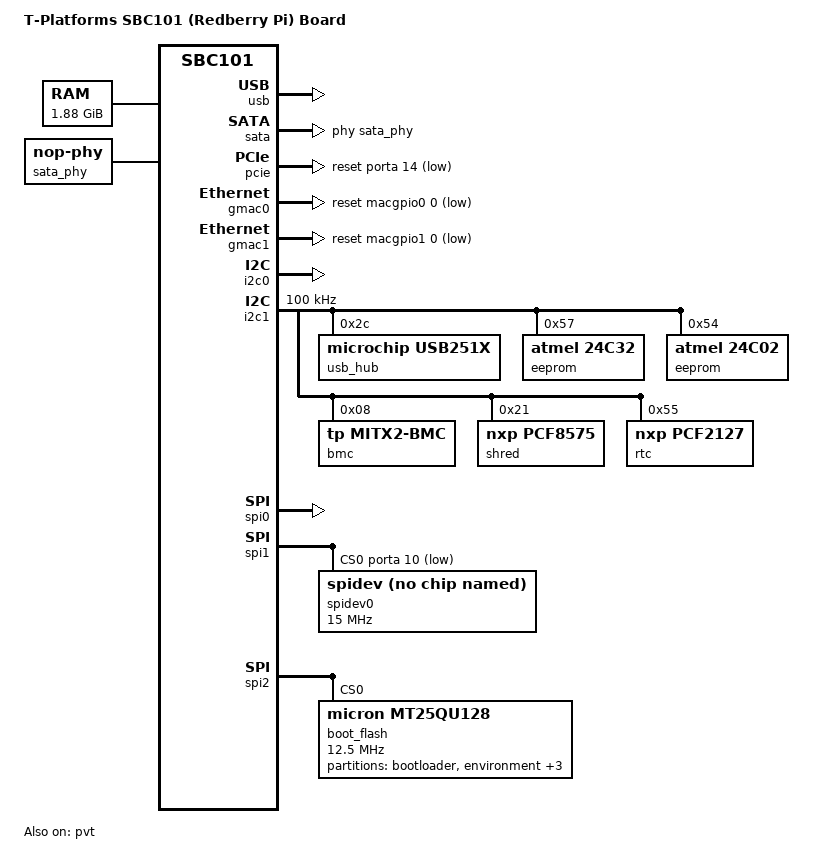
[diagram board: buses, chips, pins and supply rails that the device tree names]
// SPDX-License-Identifier: GPL-2.0+
/*
 * T-Platforms SBC101 board device tree.
 *
 * Copyright (C) 2017-2019 T-Platforms 
 *
 */

#include <dt-bindings/interrupt-controller/mips-gic.h>
#include <dt-bindings/gpio/gpio.h>

/dts-v1/;

#include "baikal_t1_soc.dtsi"

/ {
	model = "T-Platforms SBC101 (Redberry Pi) Board";
	compatible = "baikal,mips", "baikal,baikal-t1-soc", "tp,sbc101";

	aliases {
		spi0 = &spi0;
		spi1 = &spi1;
		spi2 = &spi2;
	};

	chosen {
		bootargs = "root=/dev/ram rw console=ttyS0,115200n8 earlyprintk=uart8250,mmio32,0x1F04A000,115200 nohtw";
		linux,initrd-start = <0 0x01000000>;
		linux,initrd-end   = <0 0x02000000>;
		stdout-path = "serial0:115200n8";
	};

	memory {
		device_type = "memory";
		reg = <0 0x00000000 0 0x08000000>,
		      <0 0x20000000 0 0x70000000>;
	};

	sata_phy: phy@0 {
		compatible = "nop-phy";
		#phy-cells = <0>;
		clocks;
	};

	macgpio0: macgpio@1F05E0E0 {
		compatible = "snps,dwmac-gpio";
		reg = <0 0x1f05e0e0 0 0x4>;
		#gpio-cells = <2>;
	};

	macgpio1: macgpio@1F0600E0 {
		compatible = "snps,dwmac-gpio";
		reg = <0 0x1f0600e0 0 0x4>;
		#gpio-cells = <2>;
	};

};

&usb {
	status = "okay";
};

&sata {
	status = "okay";
	phys = <&sata_phy>;
	phy-names = "sata-phy";	
};

&pcie {
	status = "okay";
	snps,reset-gpio = <&porta 14 GPIO_ACTIVE_LOW>;
};

&gmac0 {
	status = "okay";
	snps,reset-gpio = <&macgpio0 0 GPIO_ACTIVE_LOW>;
	dwmac-reset-phy;
};

&gmac1 {
	status = "okay";
	snps,reset-gpio = <&macgpio1 0 GPIO_ACTIVE_LOW>;
	dwmac-reset-phy;
};

&gpio {
	status = "okay";
};

&gpio3 {
	status = "okay";
};

&i2c0 {
	status = "okay";
};

&i2c1 {
	status = "okay";
	clock-frequency = <100000>;
	u-boot,dm-pre-reloc;

	usb_hub: usb_hub@2c {
		compatible = "microchip,usb251x", "i2c-generic";
		reg = <0x2c>;
	};

	eeprom@57 {
		compatible = "atmel,24c32";
		pagesize = <32>;
		reg = <0x57>;
		u-boot,i2c-offset-len = <2>;
	};

	eeprom@54 {
		compatible = "atmel,24c02";
		pagesize = <16>;
		reg = <0x54>;
		u-boot,dm-pre-reloc;
	};

	bmc@8 {
		compatible = "tp,mitx2-bmc", "t-platforms,mitx2-bmc";
		reg = <0x08>;
	};

	shred: gpio@21 {
		compatible = "nxp,pcf8575";
		reg = <0x21>;
		gpio-controller;
		#gpio-cells = <2>;
		lines-initial-states = <0x0>;
	};

	rtc: rtc@55 {
		compatible = "nxp,pcf2127", "pcf2127-rtc";
		reg = <0x55>;
	};
};

&spi0 {
	num-cs = <2>;
	cs-gpios = <&porta 8 GPIO_ACTIVE_LOW>, <&porta 9 GPIO_ACTIVE_LOW>;
	status = "okay";
	spi-max-frequency = <5000000>;
	dummy-tx = <0xff>;
};

&spi1 {
	num-cs = <1>;
	cs-gpios = <&porta 10 GPIO_ACTIVE_LOW>;
	status = "okay";
	spidev0 {
		compatible = "rohm,dh2228fv";
		reg = <0>;
		spi-max-frequency = <15000000>;
	};
};

&spi2 {
	status = "okay";
	num-cs = <1>;
	spi-max-frequency = <25000000>;

	boot_flash: spi_flash@0 {
		#address-cells = <1>;
		#size-cells = <1>;
		reg = <0>;
		compatible = "micron,mt25qu128", "jedec,spi-nor";
		spi-max-frequency = <12500000>;
		m25p,fast-read;

		partition@0 {
			label = "bootloader";
			reg = <0x0 0xE0000>;
			read-only;
		};

		partition@1 {
			label = "environment";
			reg = <0xE0000 0x10000>;
		};

		partition@2 {
			label = "information";
			reg = <0xF0000 0x10000>;
			read-only;
		};

		partition@3 {
			label = "multiimage";
			reg = <0x100000 0xF00000>;
			read-only;
		};

		partition@4 {
			label = "firmware";
			reg = <0x0 0x1000000>;
		};
	};
};

&pvt {
	status = "okay";
};
